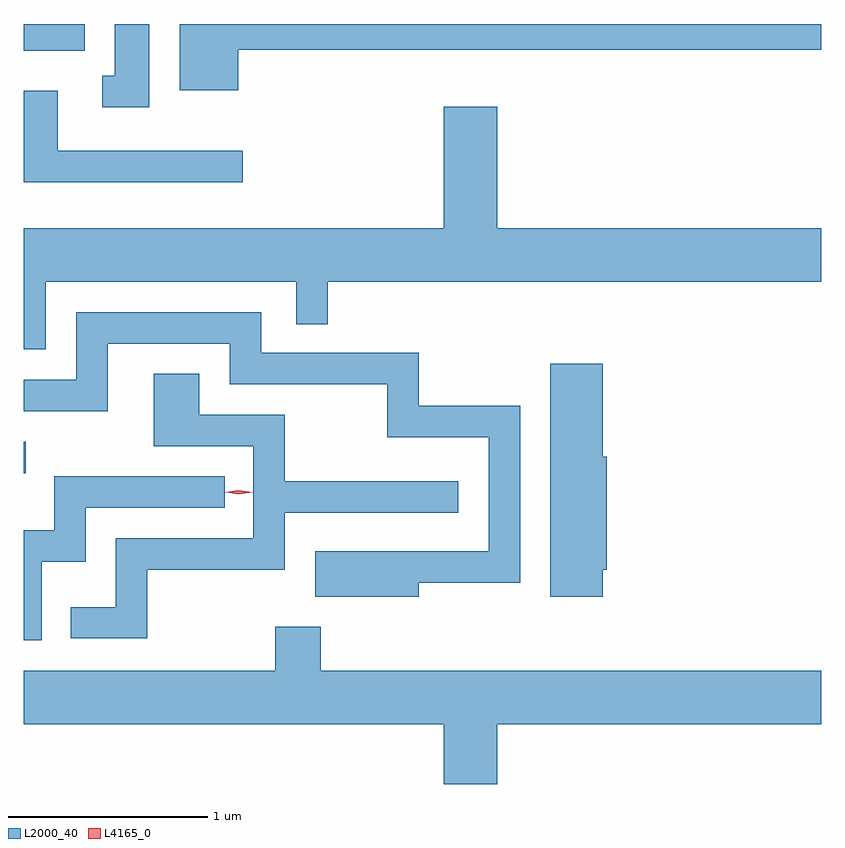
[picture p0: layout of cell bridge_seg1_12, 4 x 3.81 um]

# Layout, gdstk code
import gdstk
lib = gdstk.Library(unit=1e-6, precision=1e-09)
def R(c, l, rs):  # rectangles x0, y0, x1, y1
    for r in rs: c.add(gdstk.rectangle(r[:2], r[2:], *l))
def P(c, l, *ps):  # polygons
    for p in ps: c.add(gdstk.Polygon(p, *l))
L2000_40 = (2000, 40)
L4165_0 = (4165, 0)

bridge_seg1_12 = lib.new_cell('bridge_seg1_12')
R(bridge_seg1_12, L2000_40, [(1631.549,954.116,1631.558,954.274), (1631.549,956.236,1631.854,956.369)])
P(bridge_seg1_12, L2000_40, [(1632.179,956.369),(1632.006,956.369),(1632.006,956.109),(1631.943,956.109),(1631.943,955.951),(1632.179,955.951)],
  [(1632.624,956.241),(1635.549,956.241),(1635.549,956.369),(1632.331,956.369),(1632.331,956.036),(1632.624,956.036)],
  [(1632.648,955.734),(1631.719,955.734),(1631.719,956.034),(1631.549,956.034),(1631.549,955.576),(1632.648,955.576)],
  [(1631.659,955.076),(1632.916,955.076),(1632.916,954.863),(1633.074,954.863),(1633.074,955.076),(1635.549,955.076),(1635.549,955.344),(1633.924,955.344),(1633.924,955.954),(1633.656,955.954),(1633.656,955.344),(1631.549,955.344),(1631.549,954.736),(1631.659,954.736)],
  [(1633.529,953.566),(1634.039,953.566),(1634.039,954.454),(1633.529,954.454),(1633.529,954.719),(1632.739,954.719),(1632.739,954.924),(1631.811,954.924),(1631.811,954.584),(1631.549,954.584),(1631.549,954.426),(1631.969,954.426),(1631.969,954.766),(1632.581,954.766),(1632.581,954.561),(1633.371,954.561),(1633.371,954.296),(1633.881,954.296),(1633.881,953.724),(1633.011,953.724),(1633.011,953.496),(1633.529,953.496)],
  [(1634.454,953.631),(1634.474,953.631),(1634.474,954.199),(1634.454,954.199),(1634.454,954.664),(1634.191,954.664),(1634.191,953.496),(1634.454,953.496)],
  [(1632.169,953.631),(1632.859,953.631),(1632.859,953.916),(1633.728,953.916),(1633.728,954.074),(1632.859,954.074),(1632.859,954.409),(1632.429,954.409),(1632.429,954.614),(1632.201,954.614),(1632.201,954.251),(1632.701,954.251),(1632.701,953.789),(1632.011,953.789),(1632.011,953.444),(1631.783,953.444),(1631.783,953.286),(1632.169,953.286)],
  [(1631.639,953.671),(1631.859,953.671),(1631.859,953.941),(1632.558,953.941),(1632.558,954.099),(1631.701,954.099),(1631.701,953.829),(1631.549,953.829),(1631.549,953.276),(1631.639,953.276)],
  [(1633.924,952.856),(1635.549,952.856),(1635.549,953.124),(1633.039,953.124),(1633.039,953.344),(1632.811,953.344),(1632.811,953.124),(1631.549,953.124),(1631.549,952.856),(1633.656,952.856),(1633.656,952.556),(1633.924,952.556)])
P(bridge_seg1_12, L4165_0, [(1632.628,954.01),(1632.559,954.019),(1632.559,954.02),(1632.559,954.02),(1632.628,954.03),(1632.698,954.02),(1632.698,954.02),(1632.698,954.019)])

lib.write_gds('bridge_seg1_12.gds')
